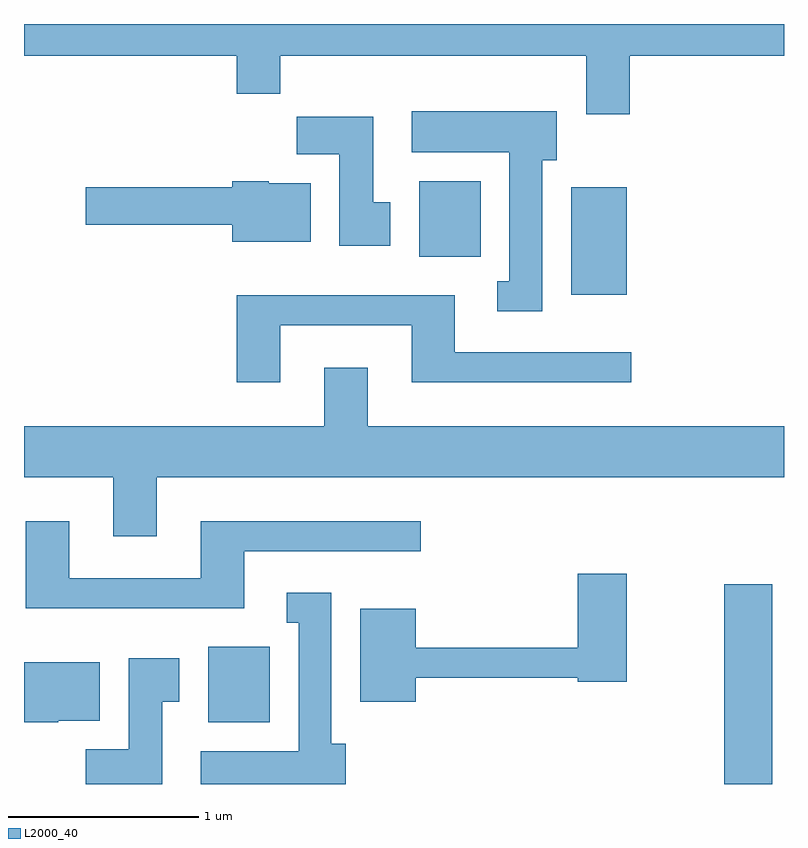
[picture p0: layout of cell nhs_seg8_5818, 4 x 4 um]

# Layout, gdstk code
import gdstk
lib = gdstk.Library(unit=1e-6, precision=1e-09)
def R(c, l, rs):  # rectangles x0, y0, x1, y1
    for r in rs: c.add(gdstk.rectangle(r[:2], r[2:], *l))
def P(c, l, *ps):  # polygons
    for p in ps: c.add(gdstk.Polygon(p, *l))
L2000_40 = (2000, 40)

nhs_seg8_5818 = lib.new_cell('nhs_seg8_5818')
R(nhs_seg8_5818, L2000_40, [(363.296,1850.342,363.549,1851.394), (360.581,1850.666,360.904,1851.064), (362.491,1852.916,362.784,1853.484), (361.691,1853.116,362.014,1853.514)])
P(nhs_seg8_5818, L2000_40, [(362.799,1854.176),(363.611,1854.176),(363.611,1854.342),(359.611,1854.342),(359.611,1854.176),(360.731,1854.176),(360.731,1853.976),(360.959,1853.976),(360.959,1854.176),(362.571,1854.176),(362.571,1853.866),(362.799,1853.866)],
  [(362.339,1853.626),(362.414,1853.626),(362.414,1853.884),(361.651,1853.884),(361.651,1853.666),(362.166,1853.666),(362.166,1852.989),(362.103,1852.989),(362.103,1852.831),(362.339,1852.831)],
  [(361.539,1853.404),(361.449,1853.404),(361.449,1853.854),(361.046,1853.854),(361.046,1853.656),(361.271,1853.656),(361.271,1853.176),(361.539,1853.176)],
  [(361.119,1853.504),(360.9,1853.504),(360.9,1853.514),(360.706,1853.514),(360.706,1853.484),(359.936,1853.484),(359.936,1853.286),(360.706,1853.286),(360.706,1853.196),(361.119,1853.196)],
  [(360.959,1852.756),(361.651,1852.756),(361.651,1852.456),(362.808,1852.456),(362.808,1852.614),(361.879,1852.614),(361.879,1852.914),(360.731,1852.914),(360.731,1852.456),(360.959,1852.456)],
  [(360.309,1851.956),(363.611,1851.956),(363.611,1852.224),(361.419,1852.224),(361.419,1852.534),(361.191,1852.534),(361.191,1852.224),(359.611,1852.224),(359.611,1851.956),(360.081,1851.956),(360.081,1851.646),(360.309,1851.646)],
  [(360.769,1851.566),(361.698,1851.566),(361.698,1851.724),(360.541,1851.724),(360.541,1851.424),(359.849,1851.424),(359.849,1851.724),(359.621,1851.724),(359.621,1851.266),(360.769,1851.266)],
  [(361.674,1850.901),(362.526,1850.901),(362.526,1850.881),(362.784,1850.881),(362.784,1851.449),(362.526,1851.449),(362.526,1851.059),(361.674,1851.059),(361.674,1851.264),(361.381,1851.264),(361.381,1850.776),(361.674,1850.776)],
  [(361.304,1850.554),(361.229,1850.554),(361.229,1851.349),(360.993,1851.349),(360.993,1851.191),(361.056,1851.191),(361.056,1850.514),(360.541,1850.514),(360.541,1850.342),(361.304,1850.342)],
  [(360.339,1850.776),(360.429,1850.776),(360.429,1851.004),(360.161,1851.004),(360.161,1850.524),(359.936,1850.524),(359.936,1850.342),(360.339,1850.342)],
  [(359.79,1850.676),(360.009,1850.676),(360.009,1850.984),(359.611,1850.984),(359.611,1850.666),(359.79,1850.666)])

lib.write_gds('nhs_seg8_5818.gds')
